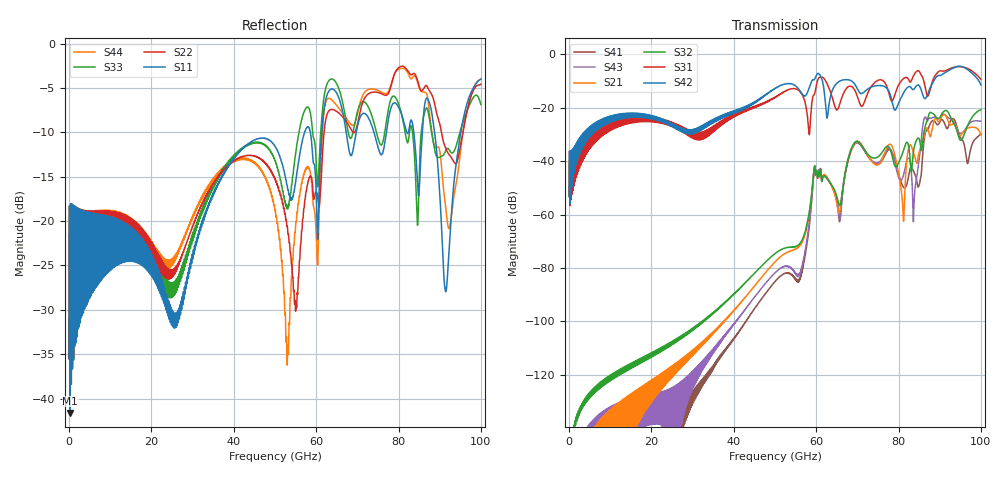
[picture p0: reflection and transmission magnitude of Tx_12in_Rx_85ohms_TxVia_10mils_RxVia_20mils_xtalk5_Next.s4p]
! Info: Touchstone file created by Circ.  Input file=Tx_12in_Rx_85ohms_TxVia_10mils_RxVia_20mils.circ
# Hz S RI R 50
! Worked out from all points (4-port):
!   10000 points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, 10 MHz to 100 GHz, reference 50 ohm
!   strongest paths, dB at 10 MHz, 25.01 GHz, 50.01 GHz, 75.01 GHz, 100 GHz:
!     S42: -53.2, -26.0, -12.8, -11.7, -11.5
!     S31: -53.3, -25.6, -16.1, -9.7, -9.4
!     S32: -177.9, -107.6, -74.6, -38.4, -20.8
!     S21: -, -117.2, -77.7, -41.4, -30.2
!     S43: -154.6, -126.5, -81.8, -40.6, -25.1
!     S41: -154.8, -136.3, -85.1, -41.2, -29.9
!   lowest |S11| = -41.6 dB at 260 MHz (marker M1), VSWR 1.02, Z = 49.2 + j0.217 ohm
!   |S11| at or under -10 dB: start of sweep to 57.18 GHz; 74.03 GHz to 77.05 GHz (3.022 GHz wide, 4 % of centre); 88.75 GHz to 95.11 GHz (6.359 GHz wide, 6.92 % of centre) (the widest 3 of 7)
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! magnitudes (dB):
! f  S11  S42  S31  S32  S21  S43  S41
! 10 MHz  -35.5  -53.2  -53.3  -177.9  -  -154.6  -154.8
! 260 MHz  -41.6  -50.1  -50.2  -153.9  -184.1  -180.5  -182.4
! 56.1 GHz  -12.2  -13.7  -14.0  -70.8  -71.6  -82.3  -84.2
! 59.79 GHz  -14.6  -8.8  -13.8  -43.5  -43.4  -43.5  -43.7
! 81.09 GHz  -8.5  -14.8  -9.3  -36.6  -59.2  -45.8  -49.5
! 91.47 GHz  -28.0  -6.7  -6.1  -21.0  -23.0  -22.9  -27.0
! 100 GHz  -4.0  -11.5  -9.4  -20.8  -30.2  -25.1  -29.9
